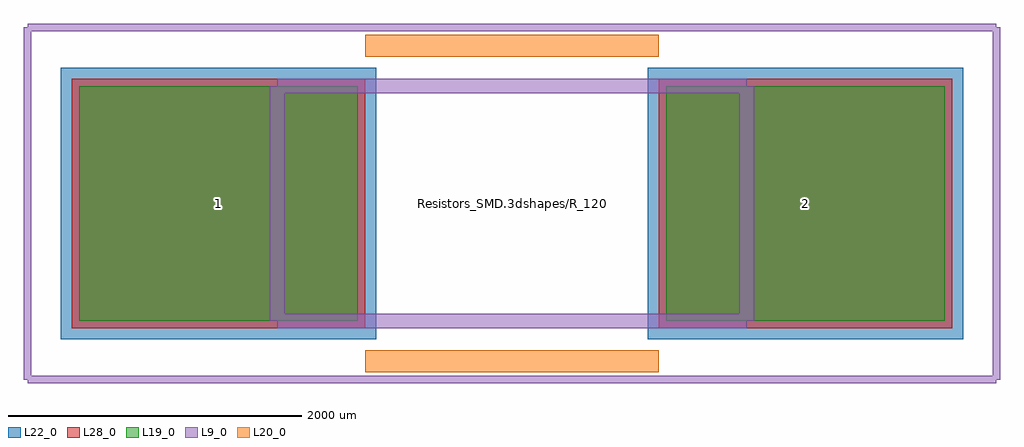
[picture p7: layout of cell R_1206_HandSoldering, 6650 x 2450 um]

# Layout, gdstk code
import gdstk
lib = gdstk.Library(unit=1e-6, precision=1e-09)
def R(c, l, rs):  # rectangles x0, y0, x1, y1
    for r in rs: c.add(gdstk.rectangle(r[:2], r[2:], *l))
L9_0 = (9, 0)
L19_0 = (19, 0)
L20_0 = (20, 0)
L22_0 = (22, 0)
L28_0 = (28, 0)

r_1206_handsoldering = lib.new_cell('R_1206_HandSoldering')
R(r_1206_handsoldering, L19_0, [(-2950,-800,-1050,800), (1050,-800,2950,800)])
R(r_1206_handsoldering, L22_0, [(-3075,-925,-925,925), (925,-925,3075,925)])
R(r_1206_handsoldering, L28_0, [(-3000,-850,-1000,850), (1000,-850,3000,850)])
r_1206_handsoldering.add(gdstk.FlexPath([(-1000,1075),(1000,1075)], 149.998, ends="flush", simple_path=True, layer=20, datatype=0))  # L20_0
r_1206_handsoldering.add(gdstk.FlexPath([(1000,-1075),(-1000,-1075)], 149.998, ends="flush", simple_path=True, layer=20, datatype=0))  # L20_0
r_1206_handsoldering.add(gdstk.FlexPath([(3300,1200),(3300,-1200)], 50, ends="flush", simple_path=True, layer=9, datatype=0))  # L9_0
r_1206_handsoldering.add(gdstk.FlexPath([(-3300,1200),(-3300,-1200)], 50, ends="flush", simple_path=True, layer=9, datatype=0))  # L9_0
r_1206_handsoldering.add(gdstk.FlexPath([(-3300,-1200),(3300,-1200)], 50, ends="flush", simple_path=True, layer=9, datatype=0))  # L9_0
r_1206_handsoldering.add(gdstk.FlexPath([(-3300,1200),(3300,1200)], 50, ends="flush", simple_path=True, layer=9, datatype=0))  # L9_0
r_1206_handsoldering.add(gdstk.FlexPath([(-1600,800),(1600,800)], 100, ends="flush", simple_path=True, layer=9, datatype=0))  # L9_0
r_1206_handsoldering.add(gdstk.FlexPath([(1600,800),(1600,-800)], 100, ends="flush", simple_path=True, layer=9, datatype=0))  # L9_0
r_1206_handsoldering.add(gdstk.FlexPath([(1600,-800),(-1600,-800)], 100, ends="flush", simple_path=True, layer=9, datatype=0))  # L9_0
r_1206_handsoldering.add(gdstk.FlexPath([(-1600,-800),(-1600,800)], 100, ends="flush", simple_path=True, layer=9, datatype=0))  # L9_0
r_1206_handsoldering.add(gdstk.Label('Resistors_SMD.3dshapes/R_1206_HandSoldering.wrl', (0,0), layer=12, texttype=0))
r_1206_handsoldering.add(gdstk.Label('2', (2000,0), layer=28, texttype=0))
r_1206_handsoldering.add(gdstk.Label('1', (-2000,0), layer=28, texttype=0))
r_1206_handsoldering.add(gdstk.Label('type', (0,-2300), layer=9, texttype=0))
r_1206_handsoldering.add(gdstk.Label('devicename', (0,2300), layer=9, texttype=0))

lib.write_gds('R_1206_HandSoldering.gds')
